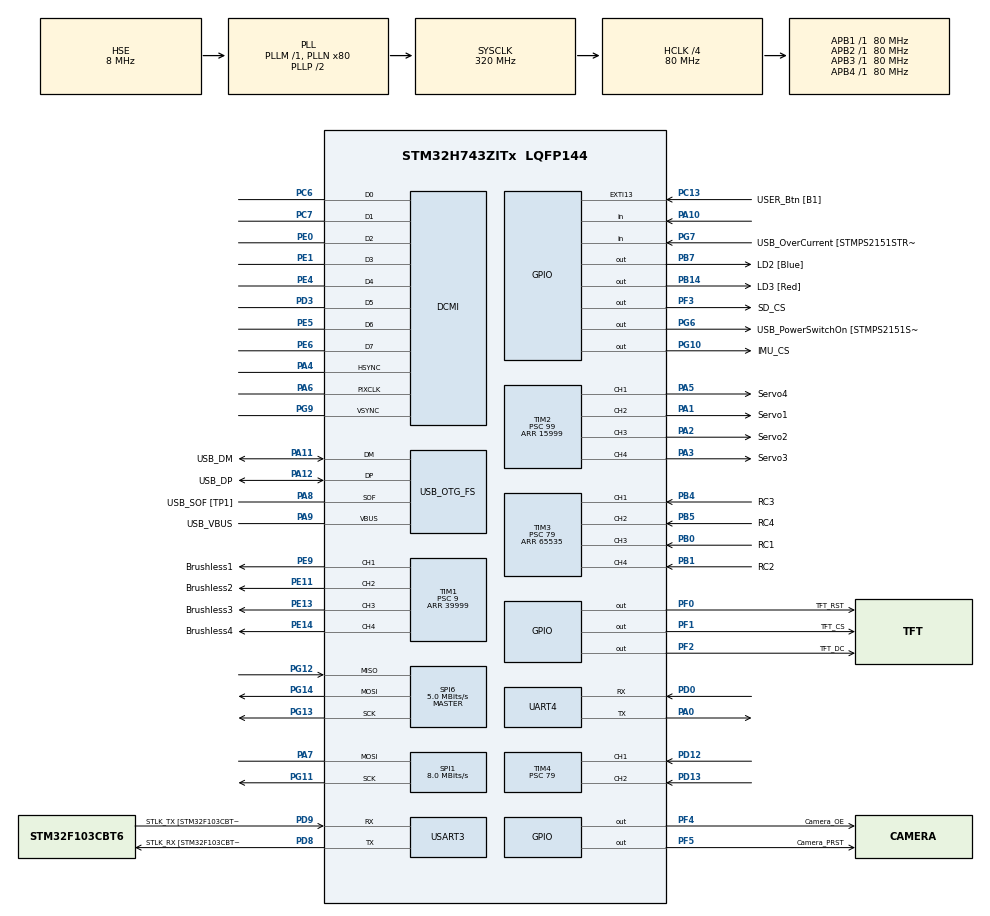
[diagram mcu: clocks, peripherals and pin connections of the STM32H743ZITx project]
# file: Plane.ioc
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FATFS._CODE_PAGE=1
FATFS._MAX_SS=4096
FATFS._MIN_SS=4096
Mcu.Family=STM32H7
Mcu.Name=STM32H743ZITx
Mcu.Package=LQFP144
NVIC.PriorityGroup=NVIC_PRIORITYGROUP_4
NVIC.TIM3_IRQn=true\:1\:0\:true\:false\:true\:true
NVIC.TIM4_IRQn=true\:2\:0\:true\:false\:true\:true
NVIC.UART4_IRQn=true\:0\:0\:false\:false\:true\:true
PA0.Mode=Asynchronous
PA0.Signal=UART4_TX
PA1.GPIO_Label=Servo1
PA1.GPIO_Speed=GPIO_SPEED_FREQ_HIGH
PA1.Signal=S_TIM2_CH2
PA10.Signal=GPIO_Input
PA11.GPIO_Label=USB_DM
PA11.Mode=Device_Only
PA11.Signal=USB_OTG_FS_DM
PA12.GPIO_Label=USB_DP
PA12.Mode=Device_Only
PA12.Signal=USB_OTG_FS_DP
PA13\ (JTMS/SWDIO).GPIO_Label=TMS
PA13\ (JTMS/SWDIO).Mode=Serial_Wire
PA13\ (JTMS/SWDIO).Signal=SYS_JTMS-SWDIO
PA14\ (JTCK/SWCLK).GPIO_Label=TCK
PA14\ (JTCK/SWCLK).Mode=Serial_Wire
PA14\ (JTCK/SWCLK).Signal=SYS_JTCK-SWCLK
PA2.GPIO_Label=Servo2
PA2.GPIO_Speed=GPIO_SPEED_FREQ_HIGH
PA2.Signal=S_TIM2_CH3
PA3.GPIO_Label=Servo3
PA3.GPIO_Speed=GPIO_SPEED_FREQ_HIGH
PA3.Signal=S_TIM2_CH4
PA4.Mode=Slave_8_bits_External_Synchro
PA4.Signal=DCMI_HSYNC
PA5.GPIO_Label=Servo4
PA5.GPIO_Speed=GPIO_SPEED_FREQ_HIGH
PA5.Signal=S_TIM2_CH1
PA6.Mode=Slave_8_bits_External_Synchro
PA6.Signal=DCMI_PIXCLK
PA7.Mode=Simplex_Bidirectional_Master
PA7.Signal=SPI1_MOSI
PA8.GPIO_Label=USB_SOF [TP1]
PA8.Mode=Activate_SOF_FS
PA8.Signal=USB_OTG_FS_SOF
PA9.GPIO_Label=USB_VBUS
PA9.Mode=Activate_VBUS
PA9.Signal=USB_OTG_FS_VBUS
PB0.GPIO_Label=RC1
PB0.Signal=S_TIM3_CH3
PB1.GPIO_Label=RC2
PB1.Signal=S_TIM3_CH4
PB14.GPIO_Label=LD3 [Red]
PB14.Signal=GPIO_Output
PB4\ (NJTRST).GPIO_Label=RC3
PB4\ (NJTRST).GPIO_Speed=GPIO_SPEED_FREQ_LOW
PB4\ (NJTRST).Signal=S_TIM3_CH1
PB5.GPIO_Label=RC4
PB5.GPIO_Speed=GPIO_SPEED_FREQ_LOW
PB5.Signal=S_TIM3_CH2
PB7.GPIO_Label=LD2 [Blue]
PB7.Signal=GPIO_Output
PC13.GPIO_Label=USER_Btn [B1]
PC13.Signal=GPXTI13
PC14-OSC32_IN\ (OSC32_IN).Mode=LSE-External-Oscillator
PC14-OSC32_IN\ (OSC32_IN).Signal=RCC_OSC32_IN
PC15-OSC32_OUT\ (OSC32_OUT).Mode=LSE-External-Oscillator
PC15-OSC32_OUT\ (OSC32_OUT).Signal=RCC_OSC32_OUT
PC6.Mode=Slave_8_bits_External_Synchro
PC6.Signal=DCMI_D0
PC7.Mode=Slave_8_bits_External_Synchro
PC7.Signal=DCMI_D1
PD0.Mode=Asynchronous
PD0.Signal=UART4_RX
PD12.GPIO_Speed=GPIO_SPEED_FREQ_HIGH
PD12.Signal=S_TIM4_CH1
PD13.GPIO_Speed=GPIO_SPEED_FREQ_HIGH
PD13.Signal=S_TIM4_CH2
PD3.Mode=Slave_8_bits_External_Synchro
PD3.Signal=DCMI_D5
PD8.GPIO_Label=STLK_RX [STM32F103CBT6_PA3]
PD8.Mode=Asynchronous
PD8.Signal=USART3_TX
PD9.GPIO_Label=STLK_TX [STM32F103CBT6_PA2]
PD9.Mode=Asynchronous
PD9.Signal=USART3_RX
PE0.Mode=Slave_8_bits_External_Synchro
PE0.Signal=DCMI_D2
PE1.Mode=Slave_8_bits_External_Synchro
PE1.Signal=DCMI_D3
PE11.GPIO_Label=Brushless2
PE11.GPIO_Speed=GPIO_SPEED_FREQ_HIGH
PE11.Signal=S_TIM1_CH2
PE13.GPIO_Label=Brushless3
PE13.GPIO_Speed=GPIO_SPEED_FREQ_HIGH
PE13.Signal=S_TIM1_CH3
PE14.GPIO_Label=Brushless4
PE14.GPIO_Speed=GPIO_SPEED_FREQ_HIGH
PE14.Signal=S_TIM1_CH4
PE4.Mode=Slave_8_bits_External_Synchro
PE4.Signal=DCMI_D4
PE5.Mode=Slave_8_bits_External_Synchro
PE5.Signal=DCMI_D6
PE6.Mode=Slave_8_bits_External_Synchro
PE6.Signal=DCMI_D7
PE9.GPIO_Label=Brushless1
PE9.GPIO_Speed=GPIO_SPEED_FREQ_HIGH
PE9.Signal=S_TIM1_CH1
PF0.GPIO_Label=TFT_RST
PF0.GPIO_PuPd=GPIO_NOPULL
PF0.GPIO_Speed=GPIO_SPEED_FREQ_HIGH
PF0.PinState=GPIO_PIN_RESET
PF0.Signal=GPIO_Output
PF1.GPIO_Label=TFT_CS
PF1.GPIO_PuPd=GPIO_NOPULL
PF1.GPIO_Speed=GPIO_SPEED_FREQ_HIGH
PF1.PinState=GPIO_PIN_RESET
PF1.Signal=GPIO_Output
PF2.GPIO_Label=TFT_DC
PF2.GPIO_ModeDefaultOutputPP=GPIO_MODE_OUTPUT_PP
PF2.GPIO_PuPd=GPIO_NOPULL
PF2.GPIO_Speed=GPIO_SPEED_FREQ_HIGH
PF2.PinState=GPIO_PIN_RESET
PF2.Signal=GPIO_Output
PF3.GPIO_Label=SD_CS
PF3.Signal=GPIO_Output
PF4.GPIO_Label=Camera_OE
PF4.Signal=GPIO_Output
PF5.GPIO_Label=Camera_PRST
PF5.Signal=GPIO_Output
PG10.GPIO_Label=IMU_CS
PG10.GPIO_PuPd=GPIO_PULLUP
PG10.GPIO_Speed=GPIO_SPEED_FREQ_HIGH
PG10.PinState=GPIO_PIN_RESET
PG10.Signal=GPIO_Output
PG11.Mode=Simplex_Bidirectional_Master
PG11.Signal=SPI1_SCK
PG12.GPIO_Speed=GPIO_SPEED_FREQ_HIGH
PG12.Mode=Full_Duplex_Master
PG12.Signal=SPI6_MISO
PG13.GPIO_Speed=GPIO_SPEED_FREQ_HIGH
PG13.Mode=Full_Duplex_Master
PG13.Signal=SPI6_SCK
PG14.GPIO_Speed=GPIO_SPEED_FREQ_HIGH
PG14.Mode=Full_Duplex_Master
PG14.Signal=SPI6_MOSI
PG6.GPIO_Label=USB_PowerSwitchOn [STMPS2151STR_EN]
PG6.Signal=GPIO_Output
PG7.GPIO_Label=USB_OverCurrent [STMPS2151STR_FAULT]
PG7.Signal=GPIO_Input
PG9.Mode=Slave_8_bits_External_Synchro
PG9.Signal=DCMI_VSYNC
PH0-OSC_IN\ (PH0).GPIO_Label=MCO
PH0-OSC_IN\ (PH0).Mode=HSE-External-Clock-Source
PH0-OSC_IN\ (PH0).Signal=RCC_OSC_IN
PH1-OSC_OUT\ (PH1).Mode=HSE-External-Clock-Source
PH1-OSC_OUT\ (PH1).Signal=RCC_OSC_OUT
ProjectManager.HeapSize=0x200
ProjectManager.StackSize=0x400
ProjectManager.TargetToolchain=SW4STM32
RCC.48MHZClocksFreq_Value=24000000
RCC.ADCFreq_Value=16125000
RCC.AHBFreq_Value=216000000
RCC.APB1CLKDivider=RCC_HCLK_DIV4
RCC.APB1Freq_Value=80000000
RCC.APB1TimFreq_Value=108000000
RCC.APB2CLKDivider=RCC_HCLK_DIV2
RCC.APB2Freq_Value=80000000
RCC.APB2TimFreq_Value=216000000
RCC.APB3Freq_Value=80000000
RCC.APB4Freq_Value=80000000
RCC.CortexFreq_Value=320000000
RCC.DIVM1=1
RCC.DIVN1=80
RCC.DIVQ1=10
RCC.HCLKFreq_Value=80000000
RCC.HPRE=RCC_HCLK_DIV4
RCC.HSE_VALUE=8000000
RCC.HSI_VALUE=64000000
RCC.PLL1_VCO_SEL-AdvancedSettings=RCC_PLL1VCOMEDIUM
RCC.PLL2_VCI_Range-AdvancedSettings=RCC_PLL2VCIRANGE_0
RCC.PLLM=25
RCC.PLLMUL=RCC_PLL_MUL9
RCC.PLLN=432
RCC.PLLQ=9
RCC.PLLSourceVirtual=RCC_PLLSOURCE_HSE
RCC.PRESCALERUSB=RCC_USBCLKSOURCE_PLL_DIV1_5
RCC.SYSCLKFreq_VALUE=320000000
RCC.SYSCLKSource=RCC_SYSCLKSOURCE_PLLCLK
RCC.SYSCLKSourceVirtual=RCC_SYSCLKSOURCE_PLLCLK
RCC.USBCLockSelection=RCC_USBCLKSOURCE_HSI48
RCC.USBFreq_Value=48000000
RCC.VCOOutputFreq_Value=432000000
SH.S_TIM1_CH1.0=TIM1_CH1,PWM Generation1 CH1
SH.S_TIM1_CH2.0=TIM1_CH2,PWM Generation2 CH2
SH.S_TIM1_CH3.0=TIM1_CH3,PWM Generation3 CH3
SH.S_TIM1_CH4.0=TIM1_CH4,PWM Generation4 CH4
SH.S_TIM2_CH1.0=TIM2_CH1,PWM Generation1 CH1
SH.S_TIM2_CH2.0=TIM2_CH2,PWM Generation2 CH2
SH.S_TIM2_CH3.0=TIM2_CH3,PWM Generation3 CH3
SH.S_TIM2_CH4.0=TIM2_CH4,PWM Generation4 CH4
SH.S_TIM3_CH1.0=TIM3_CH1,Input_Capture1_from_TI1
SH.S_TIM3_CH2.0=TIM3_CH2,Input_Capture2_from_TI2
SH.S_TIM3_CH3.0=TIM3_CH3,Input_Capture3_from_TI3
SH.S_TIM3_CH4.0=TIM3_CH4,Input_Capture4_from_TI4
SH.S_TIM4_CH1.0=TIM4_CH1,Input_Capture1_from_TI1
SH.S_TIM4_CH2.0=TIM4_CH2,Input_Capture2_from_TI2
SPI1.BaudRatePrescaler=SPI_BAUDRATEPRESCALER_8
SPI1.CalculateBaudRate=8.0 MBits/s
SPI1.DataSize=SPI_DATASIZE_8BIT
SPI1.Direction=SPI_DIRECTION_1LINE
SPI1.Mode=SPI_MODE_MASTER
SPI1.VirtualType=VM_MASTER
SPI6.BaudRatePrescaler=SPI_BAUDRATEPRESCALER_16
SPI6.CalculateBaudRate=5.0 MBits/s
SPI6.DataSize=SPI_DATASIZE_8BIT
SPI6.Direction=SPI_DIRECTION_2LINES
SPI6.Mode=SPI_MODE_MASTER
SPI6.VirtualType=VM_MASTER
TIM1.Channel-PWM\ Generation1\ CH1=TIM_CHANNEL_1
TIM1.Channel-PWM\ Generation2\ CH2=TIM_CHANNEL_2
TIM1.Channel-PWM\ Generation3\ CH3=TIM_CHANNEL_3
TIM1.Channel-PWM\ Generation4\ CH4=TIM_CHANNEL_4
TIM1.Period=39999
TIM1.Prescaler=9
TIM2.Channel-PWM\ Generation1\ CH1=TIM_CHANNEL_1
TIM2.Channel-PWM\ Generation2\ CH2=TIM_CHANNEL_2
TIM2.Channel-PWM\ Generation3\ CH3=TIM_CHANNEL_3
TIM2.Channel-PWM\ Generation4\ CH4=TIM_CHANNEL_4
TIM2.Period=15999
TIM2.Prescaler=99
TIM2.Pulse-PWM\ Generation1\ CH1=1200
TIM2.Pulse-PWM\ Generation2\ CH2=1200
TIM2.Pulse-PWM\ Generation3\ CH3=1200
TIM2.Pulse-PWM\ Generation4\ CH4=1200
TIM3.Channel-Input_Capture1_from_TI1=TIM_CHANNEL_1
TIM3.Channel-Input_Capture2_from_TI2=TIM_CHANNEL_2
TIM3.Channel-Input_Capture3_from_TI3=TIM_CHANNEL_3
TIM3.Channel-Input_Capture4_from_TI4=TIM_CHANNEL_4
TIM3.ICFilter_CH1=0
TIM3.ICFilter_CH2=0
TIM3.ICFilter_CH3=0
TIM3.ICFilter_CH4=0
TIM3.ICPolarity_CH1=TIM_INPUTCHANNELPOLARITY_BOTHEDGE
TIM3.ICPolarity_CH2=TIM_INPUTCHANNELPOLARITY_BOTHEDGE
TIM3.ICPolarity_CH3=TIM_INPUTCHANNELPOLARITY_BOTHEDGE
TIM3.ICPolarity_CH4=TIM_INPUTCHANNELPOLARITY_BOTHEDGE
TIM3.Period=65535
TIM3.Prescaler=79
TIM4.Channel-Input_Capture1_from_TI1=TIM_CHANNEL_1
TIM4.Channel-Input_Capture2_from_TI2=TIM_CHANNEL_2
TIM4.ICPolarity_CH1=TIM_INPUTCHANNELPOLARITY_BOTHEDGE
TIM4.Period=65535
TIM4.Prescaler=79
USART3.VirtualMode-Asynchronous=VM_ASYNC
USB_OTG_FS.VirtualMode=Device_Only
VP_FATFS_VS_Generic.Mode=User_defined
VP_JPEG_VS_JPEG.Mode=JPEG_Activate
VP_TIM1_VS_ClockSourceINT.Mode=Internal
VP_TIM2_VS_ClockSourceINT.Mode=Internal
VP_TIM3_VS_ClockSourceINT.Mode=Internal
VP_TIM4_VS_ClockSourceINT.Mode=Internal
board=NUCLEO-H743ZI

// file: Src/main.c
/* USER CODE BEGIN Header */
/**
  ******************************************************************************
  * @file           : main.c
  * @brief          : Main program body
  ******************************************************************************
  ** This notice applies to any and all portions of this file
  * that are not between comment pairs USER CODE BEGIN and
  * USER CODE END. Other portions of this file, whether
  * inserted by the user or by software development tools
  * are owned by their respective copyright owners.
  *
  * COPYRIGHT(c) 2019 STMicroelectronics
  *
  * Redistribution and use in source and binary forms, with or without modification,
  * are permitted provided that the following conditions are met:
  *   1. Redistributions of source code must retain the above copyright notice,
  *      this list of conditions and the following disclaimer.
  *   2. Redistributions in binary form must reproduce the above copyright notice,
  *      this list of conditions and the following disclaimer in the documentation
  *      and/or other materials provided with the distribution.
  *   3. Neither the name of STMicroelectronics nor the names of its contributors
  *      may be used to endorse or promote products derived from this software
  *      without specific prior written permission.
  *
  * THIS SOFTWARE IS PROVIDED BY THE COPYRIGHT HOLDERS AND CONTRIBUTORS "AS IS"
  * AND ANY EXPRESS OR IMPLIED WARRANTIES, INCLUDING, BUT NOT LIMITED TO, THE
  * IMPLIED WARRANTIES OF MERCHANTABILITY AND FITNESS FOR A PARTICULAR PURPOSE ARE
  * DISCLAIMED. IN NO EVENT SHALL THE COPYRIGHT HOLDER OR CONTRIBUTORS BE LIABLE
  * FOR ANY DIRECT, INDIRECT, INCIDENTAL, SPECIAL, EXEMPLARY, OR CONSEQUENTIAL
  * DAMAGES (INCLUDING, BUT NOT LIMITED TO, PROCUREMENT OF SUBSTITUTE GOODS OR
  * SERVICES; LOSS OF USE, DATA, OR PROFITS; OR BUSINESS INTERRUPTION) HOWEVER
  * CAUSED AND ON ANY THEORY OF LIABILITY, WHETHER IN CONTRACT, STRICT LIABILITY,
  * OR TORT (INCLUDING NEGLIGENCE OR OTHERWISE) ARISING IN ANY WAY OUT OF THE USE
  * OF THIS SOFTWARE, EVEN IF ADVISED OF THE POSSIBILITY OF SUCH DAMAGE.
  *
  ******************************************************************************
  */
/* USER CODE END Header */

#include "main.h"
#include "fatfs.h"

/* USER CODE BEGIN PTD */
UL_TFT_typedef Tft;
UL_IMU_typedef IMU;
UL_PWM_typedef brushless[4];
UL_PWM_typedef servo[4];
UL_RC_typedef RC;
UL_flight_control_typedef FC = {0};

/* USER CODE END PTD */

DCMI_HandleTypeDef hdcmi;

JPEG_HandleTypeDef hjpeg;

SPI_HandleTypeDef hspi1;
SPI_HandleTypeDef hspi6;

TIM_HandleTypeDef htim1;
TIM_HandleTypeDef htim2;
TIM_HandleTypeDef htim3;
TIM_HandleTypeDef htim4;

UART_HandleTypeDef huart4;
UART_HandleTypeDef huart3;

PCD_HandleTypeDef hpcd_USB_OTG_FS;

/* USER CODE BEGIN PV */
/* Private variables ---------------------------------------------------------*/

/* USER CODE END PV */

void SystemClock_Config(void);
static void MX_GPIO_Init(void);
static void MX_USART3_UART_Init(void);
static void MX_USB_OTG_FS_PCD_Init(void);
static void MX_TIM3_Init(void);
static void MX_TIM2_Init(void);
static void MX_TIM1_Init(void);
static void MX_TIM4_Init(void);
static void MX_SPI1_Init(void);
static void MX_JPEG_Init(void);
static void MX_SPI6_Init(void);
static void MX_UART4_Init(void);
static void MX_DCMI_Init(void);
/* USER CODE BEGIN PFP */
/* Private function prototypes -----------------------------------------------*/

/* USER CODE END PFP */

/* USER CODE BEGIN 0 */
void HAL_UART_RxCpltCallback(UART_HandleTypeDef *huart){
    UNUSED(huart);
    if (huart->Instance == IMU.huart->Instance) {
        UL_IMU_Read(&IMU);
        //! Flight Control Init
        if (FC.ready == 1)
            UL_flight_control(&FC);
    }
    HAL_UART_Receive_IT(huart, (uint8_t *) IMU.rxbuff, sizeof(IMU.rxbuff));
    HAL_GPIO_WritePin(LD3_GPIO_Port, LD3_Pin, GPIO_PIN_RESET);
}

void HAL_TIM_IC_CaptureCallback(TIM_HandleTypeDef *htim)
{
    uint8_t index;
    uint32_t Channel;
    uint16_t capture;

    switch (htim->Channel) {
        case HAL_TIM_ACTIVE_CHANNEL_1:
            Channel = TIM_CHANNEL_1;
            if (htim->Instance == RC.htim1->Instance)
                index = 0;
            if (htim->Instance == RC.htim2->Instance)
                index = 4;
            break;
        case HAL_TIM_ACTIVE_CHANNEL_2:
            Channel = TIM_CHANNEL_2;
            if (htim->Instance == RC.htim1->Instance)
                index = 1;
            if (htim->Instance == RC.htim2->Instance)
                index = 5;
            break;
        case HAL_TIM_ACTIVE_CHANNEL_3:
            Channel = TIM_CHANNEL_3;
            index = 2;
            break;
        case HAL_TIM_ACTIVE_CHANNEL_4:
            Channel = TIM_CHANNEL_4;
            index = 3;
            break;
        default:
            return;
        }

    capture = __HAL_TIM_GET_COMPARE(htim, Channel);
    if (RC.CaptureIndex[index] == 0 || capture - RC.Capture1[index] > 2050) {
        /* Get the 1st Input Capture value */
        RC.Capture1[index] = capture;
        RC.CaptureIndex[index] = 1;
    } else if (RC.CaptureIndex[index] == 1) {
        /* Get the 2nd Input Capture value */
        RC.diffCapture[index] = capture - RC.Capture1[index];
        RC.CaptureIndex[index] = 0;
    }
}

void UL_brushless_setup(){
    //HAL_Delay(5000);

    UL_PWM_SetUs(&brushless[0], 1000);
    UL_PWM_SetUs(&brushless[1], 1000);
    UL_PWM_SetUs(&brushless[2], 1000);
    UL_PWM_SetUs(&brushless[3], 1000);

    HAL_Delay(500);

    HAL_GPIO_WritePin(LD2_GPIO_Port, LD2_Pin, GPIO_PIN_SET);

    UL_PWM_SetUs(&brushless[0], 2000);
    UL_PWM_SetUs(&brushless[1], 2000);
    UL_PWM_SetUs(&brushless[2], 2000);
    UL_PWM_SetUs(&brushless[3], 2000);

    HAL_Delay(5500);

    UL_PWM_SetUs(&brushless[0], 1000);
    UL_PWM_SetUs(&brushless[1], 1000);
    UL_PWM_SetUs(&brushless[2], 1000);
    UL_PWM_SetUs(&brushless[3], 1000);

    HAL_Delay(5500);

    HAL_GPIO_WritePin(LD2_GPIO_Port, LD2_Pin, GPIO_PIN_RESET);
}

/* USER CODE END 0 */

int main(void)
{

  /* MCU Configuration--------------------------------------------------------*/

  /* Reset of all peripherals, Initializes the Flash interface and the Systick. */
  HAL_Init();

  /* Configure the system clock */
  SystemClock_Config();

  /* Initialize all configured peripherals */
  MX_GPIO_Init();
  MX_USART3_UART_Init();
  MX_USB_OTG_FS_PCD_Init();
  MX_TIM3_Init();
  MX_TIM2_Init();
  MX_TIM1_Init();
  MX_TIM4_Init();
  MX_SPI1_Init();
  MX_JPEG_Init();
  MX_SPI6_Init();
  MX_UART4_Init();
  MX_DCMI_Init();
  MX_FATFS_Init();
  /* USER CODE BEGIN 2 */

  //! IMU init
  UL_IMU_Init(&IMU, &huart4);
  //UL_IMU_SetUp(&IMU);

    //! TFT init
  UL_TFT_ST7735_Init(&Tft, TFT_RST_GPIO_Port, TFT_RST_Pin, TFT_DC_GPIO_Port, TFT_DC_Pin, TFT_CS_GPIO_Port, TFT_CS_Pin, &hspi1);
  UL_TFT_ST7735_FillScreen(&Tft, ST7735_BLACK);

  //! Servo Timer init
  HAL_TIM_Base_Start(&htim2);
  UL_PWM_Init(&servo[0], &htim2, TIM_CHANNEL_2, 20000);
  UL_PWM_Init(&servo[1], &htim2, TIM_CHANNEL_3, 20000);
  UL_PWM_Init(&servo[2], &htim2, TIM_CHANNEL_4, 20000);
  UL_PWM_Init(&servo[3], &htim2, TIM_CHANNEL_1, 20000);
    //UL_PWM_SetUs()
  UL_PWM_SetUs(&servo[0], 1300);
    HAL_Delay(500);
  UL_PWM_SetUs(&servo[1], 1300);
    HAL_Delay(500);
  UL_PWM_SetUs(&servo[2], 1300);
    HAL_Delay(500);
  UL_PWM_SetUs(&servo[3], 1300);

  HAL_Delay(500);
  UL_PWM_SetUs(&servo[0], 1550);
  UL_PWM_SetUs(&servo[1], 1500);
  UL_PWM_SetUs(&servo[2], 1550);
  UL_PWM_SetUs(&servo[3], 1500);

  //! Brushless Timer Init
  HAL_TIM_Base_Start(&htim1);
  UL_PWM_Init(&brushless[0], &htim1, TIM_CHANNEL_1, 5000);
  UL_PWM_Init(&brushless[1], &htim1, TIM_CHANNEL_2, 5000);
  UL_PWM_Init(&brushless[2], &htim1, TIM_CHANNEL_3, 5000);
  UL_PWM_Init(&brushless[3], &htim1, TIM_CHANNEL_4, 5000);

  //UL_brushless_setup();

  UL_PWM_SetUs(&brushless[0], 1000);
  UL_PWM_SetUs(&brushless[1], 1000);
  UL_PWM_SetUs(&brushless[2], 1000);
  UL_PWM_SetUs(&brushless[3], 1000);
  HAL_Delay(3000);

  //! enable IMU
  __HAL_UART_ENABLE(IMU.huart);

  //! RC Init
  UL_RC_Init(&RC, &htim3, &htim4);

  HAL_Delay(1000);
  UL_flight_control_init(&FC);
  /* USER CODE END 2 */

  /* Infinite loop */
  /* USER CODE BEGIN WHILE */
#pragma clang diagnostic push
#pragma clang diagnostic ignored "-Wmissing-noreturn"
  while (1)
  {
    /* USER CODE END WHILE */

    /* USER CODE BEGIN 3 */

    UL_flight_control_print(&FC);
  }
#pragma clang diagnostic ignored "-Wmissing-noreturn"
  /* USER CODE END 3 */
}

void SystemClock_Config(void)
{
  RCC_OscInitTypeDef RCC_OscInitStruct = {0};
  RCC_ClkInitTypeDef RCC_ClkInitStruct = {0};
  RCC_PeriphCLKInitTypeDef PeriphClkInitStruct = {0};

  /**Supply configuration update enable
  */
  MODIFY_REG(PWR->CR3, PWR_CR3_SCUEN, 0);
  /**Configure the main internal regulator output voltage
  */
  __HAL_PWR_VOLTAGESCALING_CONFIG(PWR_REGULATOR_VOLTAGE_SCALE1);

  while ((PWR->D3CR & (PWR_D3CR_VOSRDY)) != PWR_D3CR_VOSRDY)
  {

  }
  /**Initializes the CPU, AHB and APB busses clocks
  */
  RCC_OscInitStruct.OscillatorType = RCC_OSCILLATORTYPE_HSI48|RCC_OSCILLATORTYPE_HSE;
  RCC_OscInitStruct.HSEState = RCC_HSE_BYPASS;
  RCC_OscInitStruct.HSI48State = RCC_HSI48_ON;
  RCC_OscInitStruct.PLL.PLLState = RCC_PLL_ON;
  RCC_OscInitStruct.PLL.PLLSource = RCC_PLLSOURCE_HSE;
  RCC_OscInitStruct.PLL.PLLM = 1;
  RCC_OscInitStruct.PLL.PLLN = 80;
  RCC_OscInitStruct.PLL.PLLP = 2;
  RCC_OscInitStruct.PLL.PLLQ = 10;
  RCC_OscInitStruct.PLL.PLLR = 2;
  RCC_OscInitStruct.PLL.PLLRGE = RCC_PLL1VCIRANGE_3;
  RCC_OscInitStruct.PLL.PLLVCOSEL = RCC_PLL1VCOWIDE;
  RCC_OscInitStruct.PLL.PLLFRACN = 0;
  if (HAL_RCC_OscConfig(&RCC_OscInitStruct) != HAL_OK)
  {
    Error_Handler();
  }
  /**Initializes the CPU, AHB and APB busses clocks
  */
  RCC_ClkInitStruct.ClockType = RCC_CLOCKTYPE_HCLK|RCC_CLOCKTYPE_SYSCLK
                              |RCC_CLOCKTYPE_PCLK1|RCC_CLOCKTYPE_PCLK2
                              |RCC_CLOCKTYPE_D3PCLK1|RCC_CLOCKTYPE_D1PCLK1;
  RCC_ClkInitStruct.SYSCLKSource = RCC_SYSCLKSOURCE_PLLCLK;
  RCC_ClkInitStruct.SYSCLKDivider = RCC_SYSCLK_DIV1;
  RCC_ClkInitStruct.AHBCLKDivider = RCC_HCLK_DIV4;
  RCC_ClkInitStruct.APB3CLKDivider = RCC_APB3_DIV1;
  RCC_ClkInitStruct.APB1CLKDivider = RCC_APB1_DIV1;
  RCC_ClkInitStruct.APB2CLKDivider = RCC_APB2_DIV1;
  RCC_ClkInitStruct.APB4CLKDivider = RCC_APB4_DIV1;

  if (HAL_RCC_ClockConfig(&RCC_ClkInitStruct, FLASH_LATENCY_1) != HAL_OK)
  {
    Error_Handler();
  }
  PeriphClkInitStruct.PeriphClockSelection = RCC_PERIPHCLK_USART3|RCC_PERIPHCLK_UART4
                              |RCC_PERIPHCLK_SPI1|RCC_PERIPHCLK_SPI6
                              |RCC_PERIPHCLK_USB;
  PeriphClkInitStruct.Spi123ClockSelection = RCC_SPI123CLKSOURCE_PLL;
  PeriphClkInitStruct.Usart234578ClockSelection = RCC_USART234578CLKSOURCE_D2PCLK1;
  PeriphClkInitStruct.UsbClockSelection = RCC_USBCLKSOURCE_HSI48;
  PeriphClkInitStruct.Spi6ClockSelection = RCC_SPI6CLKSOURCE_D3PCLK1;
  if (HAL_RCCEx_PeriphCLKConfig(&PeriphClkInitStruct) != HAL_OK)
  {
    Error_Handler();
  }
}

static void MX_DCMI_Init(void)
{

  hdcmi.Instance = DCMI;
  hdcmi.Init.SynchroMode = DCMI_SYNCHRO_HARDWARE;
  hdcmi.Init.PCKPolarity = DCMI_PCKPOLARITY_FALLING;
  hdcmi.Init.VSPolarity = DCMI_VSPOLARITY_LOW;
  hdcmi.Init.HSPolarity = DCMI_HSPOLARITY_LOW;
  hdcmi.Init.CaptureRate = DCMI_CR_ALL_FRAME;
  hdcmi.Init.ExtendedDataMode = DCMI_EXTEND_DATA_8B;
  hdcmi.Init.JPEGMode = DCMI_JPEG_DISABLE;
  hdcmi.Init.ByteSelectMode = DCMI_BSM_ALL;
  hdcmi.Init.ByteSelectStart = DCMI_OEBS_ODD;
  hdcmi.Init.LineSelectMode = DCMI_LSM_ALL;
  hdcmi.Init.LineSelectStart = DCMI_OELS_ODD;
  if (HAL_DCMI_Init(&hdcmi) != HAL_OK)
  {
    Error_Handler();
  }

}

static void MX_JPEG_Init(void)
{

  hjpeg.Instance = JPEG;
  if (HAL_JPEG_Init(&hjpeg) != HAL_OK)
  {
    Error_Handler();
  }

}

static void MX_SPI1_Init(void)
{

  /* SPI1 parameter configuration*/
  hspi1.Instance = SPI1;
  hspi1.Init.Mode = SPI_MODE_MASTER;
  hspi1.Init.Direction = SPI_DIRECTION_1LINE;
  hspi1.Init.DataSize = SPI_DATASIZE_8BIT;
  hspi1.Init.CLKPolarity = SPI_POLARITY_LOW;
  hspi1.Init.CLKPhase = SPI_PHASE_1EDGE;
  hspi1.Init.NSS = SPI_NSS_SOFT;
  hspi1.Init.BaudRatePrescaler = SPI_BAUDRATEPRESCALER_8;
  hspi1.Init.FirstBit = SPI_FIRSTBIT_MSB;
  hspi1.Init.TIMode = SPI_TIMODE_DISABLE;
  hspi1.Init.CRCCalculation = SPI_CRCCALCULATION_DISABLE;
  hspi1.Init.CRCPolynomial = 7;
  hspi1.Init.NSSPMode = SPI_NSS_PULSE_ENABLE;
  hspi1.Init.NSSPolarity = SPI_NSS_POLARITY_LOW;
  hspi1.Init.FifoThreshold = SPI_FIFO_THRESHOLD_01DATA;
  hspi1.Init.TxCRCInitializationPattern = SPI_CRC_INITIALIZATION_ALL_ZERO_PATTERN;
  hspi1.Init.RxCRCInitializationPattern = SPI_CRC_INITIALIZATION_ALL_ZERO_PATTERN;
  hspi1.Init.MasterSSIdleness = SPI_MASTER_SS_IDLENESS_00CYCLE;
  hspi1.Init.MasterInterDataIdleness = SPI_MASTER_INTERDATA_IDLENESS_00CYCLE;
  hspi1.Init.MasterReceiverAutoSusp = SPI_MASTER_RX_AUTOSUSP_DISABLE;
  hspi1.Init.MasterKeepIOState = SPI_MASTER_KEEP_IO_STATE_DISABLE;
  hspi1.Init.IOSwap = SPI_IO_SWAP_DISABLE;
  if (HAL_SPI_Init(&hspi1) != HAL_OK)
  {
    Error_Handler();
  }

}

static void MX_SPI6_Init(void)
{

  /* SPI6 parameter configuration*/
  hspi6.Instance = SPI6;
  hspi6.Init.Mode = SPI_MODE_MASTER;
  hspi6.Init.Direction = SPI_DIRECTION_2LINES;
  hspi6.Init.DataSize = SPI_DATASIZE_8BIT;
  hspi6.Init.CLKPolarity = SPI_POLARITY_LOW;
  hspi6.Init.CLKPhase = SPI_PHASE_1EDGE;
  hspi6.Init.NSS = SPI_NSS_SOFT;
  hspi6.Init.BaudRatePrescaler = SPI_BAUDRATEPRESCALER_16;
  hspi6.Init.FirstBit = SPI_FIRSTBIT_MSB;
  hspi6.Init.TIMode = SPI_TIMODE_DISABLE;
  hspi6.Init.CRCCalculation = SPI_CRCCALCULATION_DISABLE;
  hspi6.Init.CRCPolynomial = 7;
  hspi6.Init.NSSPMode = SPI_NSS_PULSE_ENABLE;
  hspi6.Init.NSSPolarity = SPI_NSS_POLARITY_LOW;
  hspi6.Init.FifoThreshold = SPI_FIFO_THRESHOLD_01DATA;
  hspi6.Init.TxCRCInitializationPattern = SPI_CRC_INITIALIZATION_ALL_ZERO_PATTERN;
  hspi6.Init.RxCRCInitializationPattern = SPI_CRC_INITIALIZATION_ALL_ZERO_PATTERN;
  hspi6.Init.MasterSSIdleness = SPI_MASTER_SS_IDLENESS_00CYCLE;
  hspi6.Init.MasterInterDataIdleness = SPI_MASTER_INTERDATA_IDLENESS_00CYCLE;
  hspi6.Init.MasterReceiverAutoSusp = SPI_MASTER_RX_AUTOSUSP_DISABLE;
  hspi6.Init.MasterKeepIOState = SPI_MASTER_KEEP_IO_STATE_DISABLE;
  hspi6.Init.IOSwap = SPI_IO_SWAP_DISABLE;
  if (HAL_SPI_Init(&hspi6) != HAL_OK)
  {
    Error_Handler();
  }

}

static void MX_TIM1_Init(void)
{

  TIM_ClockConfigTypeDef sClockSourceConfig = {0};
  TIM_MasterConfigTypeDef sMasterConfig = {0};
  TIM_OC_InitTypeDef sConfigOC = {0};
  TIM_BreakDeadTimeConfigTypeDef sBreakDeadTimeConfig = {0};

  htim1.Instance = TIM1;
  htim1.Init.Prescaler = 9;
  htim1.Init.CounterMode = TIM_COUNTERMODE_UP;
  htim1.Init.Period = 39999;
  htim1.Init.ClockDivision = TIM_CLOCKDIVISION_DIV1;
  htim1.Init.RepetitionCounter = 0;
  htim1.Init.AutoReloadPreload = TIM_AUTORELOAD_PRELOAD_DISABLE;
  if (HAL_TIM_Base_Init(&htim1) != HAL_OK)
  {
    Error_Handler();
  }
  sClockSourceConfig.ClockSource = TIM_CLOCKSOURCE_INTERNAL;
  if (HAL_TIM_ConfigClockSource(&htim1, &sClockSourceConfig) != HAL_OK)
  {
    Error_Handler();
  }
  if (HAL_TIM_PWM_Init(&htim1) != HAL_OK)
  {
    Error_Handler();
  }
  sMasterConfig.MasterOutputTrigger = TIM_TRGO_RESET;
  sMasterConfig.MasterOutputTrigger2 = TIM_TRGO2_RESET;
  sMasterConfig.MasterSlaveMode = TIM_MASTERSLAVEMODE_DISABLE;
  if (HAL_TIMEx_MasterConfigSynchronization(&htim1, &sMasterConfig) != HAL_OK)
  {
    Error_Handler();
  }
  sConfigOC.OCMode = TIM_OCMODE_PWM1;
  sConfigOC.Pulse = 0;
  sConfigOC.OCPolarity = TIM_OCPOLARITY_HIGH;
  sConfigOC.OCNPolarity = TIM_OCNPOLARITY_HIGH;
  sConfigOC.OCFastMode = TIM_OCFAST_DISABLE;
  sConfigOC.OCIdleState = TIM_OCIDLESTATE_RESET;
  sConfigOC.OCNIdleState = TIM_OCNIDLESTATE_RESET;
  if (HAL_TIM_PWM_ConfigChannel(&htim1, &sConfigOC, TIM_CHANNEL_1) != HAL_OK)
  {
    Error_Handler();
  }
  if (HAL_TIM_PWM_ConfigChannel(&htim1, &sConfigOC, TIM_CHANNEL_2) != HAL_OK)
  {
    Error_Handler();
  }
  if (HAL_TIM_PWM_ConfigChannel(&htim1, &sConfigOC, TIM_CHANNEL_3) != HAL_OK)
  {
    Error_Handler();
  }
  if (HAL_TIM_PWM_ConfigChannel(&htim1, &sConfigOC, TIM_CHANNEL_4) != HAL_OK)
  {
    Error_Handler();
  }
  sBreakDeadTimeConfig.OffStateRunMode = TIM_OSSR_DISABLE;
  sBreakDeadTimeConfig.OffStateIDLEMode = TIM_OSSI_DISABLE;
  sBreakDeadTimeConfig.LockLevel = TIM_LOCKLEVEL_OFF;
  sBreakDeadTimeConfig.DeadTime = 0;
  sBreakDeadTimeConfig.BreakState = TIM_BREAK_DISABLE;
  sBreakDeadTimeConfig.BreakPolarity = TIM_BREAKPOLARITY_HIGH;
  sBreakDeadTimeConfig.BreakFilter = 0;
  sBreakDeadTimeConfig.Break2State = TIM_BREAK2_DISABLE;
  sBreakDeadTimeConfig.Break2Polarity = TIM_BREAK2POLARITY_HIGH;
  sBreakDeadTimeConfig.Break2Filter = 0;
  sBreakDeadTimeConfig.AutomaticOutput = TIM_AUTOMATICOUTPUT_DISABLE;
  if (HAL_TIMEx_ConfigBreakDeadTime(&htim1, &sBreakDeadTimeConfig) != HAL_OK)
  {
    Error_Handler();
  }
  HAL_TIM_MspPostInit(&htim1);

}

static void MX_TIM2_Init(void)
{

  TIM_ClockConfigTypeDef sClockSourceConfig = {0};
  TIM_MasterConfigTypeDef sMasterConfig = {0};
  TIM_OC_InitTypeDef sConfigOC = {0};

  htim2.Instance = TIM2;
  htim2.Init.Prescaler = 99;
  htim2.Init.CounterMode = TIM_COUNTERMODE_UP;
  htim2.Init.Period = 15999;
  htim2.Init.ClockDivision = TIM_CLOCKDIVISION_DIV1;
  htim2.Init.AutoReloadPreload = TIM_AUTORELOAD_PRELOAD_DISABLE;
  if (HAL_TIM_Base_Init(&htim2) != HAL_OK)
  {
    Error_Handler();
  }
  sClockSourceConfig.ClockSource = TIM_CLOCKSOURCE_INTERNAL;
  if (HAL_TIM_ConfigClockSource(&htim2, &sClockSourceConfig) != HAL_OK)
  {
    Error_Handler();
  }
  if (HAL_TIM_PWM_Init(&htim2) != HAL_OK)
  {
    Error_Handler();
  }
  sMasterConfig.MasterOutputTrigger = TIM_TRGO_RESET;
  sMasterConfig.MasterSlaveMode = TIM_MASTERSLAVEMODE_DISABLE;
  if (HAL_TIMEx_MasterConfigSynchronization(&htim2, &sMasterConfig) != HAL_OK)
  {
    Error_Handler();
  }
  sConfigOC.OCMode = TIM_OCMODE_PWM1;
  sConfigOC.Pulse = 1200;
  sConfigOC.OCPolarity = TIM_OCPOLARITY_HIGH;
  sConfigOC.OCFastMode = TIM_OCFAST_DISABLE;
  if (HAL_TIM_PWM_ConfigChannel(&htim2, &sConfigOC, TIM_CHANNEL_1) != HAL_OK)
  {
    Error_Handler();
  }
  if (HAL_TIM_PWM_ConfigChannel(&htim2, &sConfigOC, TIM_CHANNEL_2) != HAL_OK)
  {
    Error_Handler();
  }
  if (HAL_TIM_PWM_ConfigChannel(&htim2, &sConfigOC, TIM_CHANNEL_3) != HAL_OK)
  {
    Error_Handler();
  }
  if (HAL_TIM_PWM_ConfigChannel(&htim2, &sConfigOC, TIM_CHANNEL_4) != HAL_OK)
  {
    Error_Handler();
  }
  HAL_TIM_MspPostInit(&htim2);

}

static void MX_TIM3_Init(void)
{

  TIM_ClockConfigTypeDef sClockSourceConfig = {0};
  TIM_MasterConfigTypeDef sMasterConfig = {0};
  TIM_IC_InitTypeDef sConfigIC = {0};

  htim3.Instance = TIM3;
  htim3.Init.Prescaler = 79;
  htim3.Init.CounterMode = TIM_COUNTERMODE_UP;
  htim3.Init.Period = 65535;
  htim3.Init.ClockDivision = TIM_CLOCKDIVISION_DIV1;
  htim3.Init.AutoReloadPreload = TIM_AUTORELOAD_PRELOAD_DISABLE;
  if (HAL_TIM_Base_Init(&htim3) != HAL_OK)
  {
    Error_Handler();
  }
  sClockSourceConfig.ClockSource = TIM_CLOCKSOURCE_INTERNAL;
  if (HAL_TIM_ConfigClockSource(&htim3, &sClockSourceConfig) != HAL_OK)
  {
    Error_Handler();
  }
  if (HAL_TIM_IC_Init(&htim3) != HAL_OK)
  {
    Error_Handler();
  }
  sMasterConfig.MasterOutputTrigger = TIM_TRGO_RESET;
  sMasterConfig.MasterSlaveMode = TIM_MASTERSLAVEMODE_DISABLE;
  if (HAL_TIMEx_MasterConfigSynchronization(&htim3, &sMasterConfig) != HAL_OK)
  {
    Error_Handler();
  }
  sConfigIC.ICPolarity = TIM_INPUTCHANNELPOLARITY_BOTHEDGE;
  sConfigIC.ICSelection = TIM_ICSELECTION_DIRECTTI;
  sConfigIC.ICPrescaler = TIM_ICPSC_DIV1;
  sConfigIC.ICFilter = 0;
  if (HAL_TIM_IC_ConfigChannel(&htim3, &sConfigIC, TIM_CHANNEL_1) != HAL_OK)
  {
    Error_Handler();
  }
  if (HAL_TIM_IC_ConfigChannel(&htim3, &sConfigIC, TIM_CHANNEL_2) != HAL_OK)
  {
    Error_Handler();
  }
  if (HAL_TIM_IC_ConfigChannel(&htim3, &sConfigIC, TIM_CHANNEL_3) != HAL_OK)
  {
    Error_Handler();
  }
  if (HAL_TIM_IC_ConfigChannel(&htim3, &sConfigIC, TIM_CHANNEL_4) != HAL_OK)
  {
    Error_Handler();
  }

}

static void MX_TIM4_Init(void)
{

  TIM_ClockConfigTypeDef sClockSourceConfig = {0};
  TIM_MasterConfigTypeDef sMasterConfig = {0};
  TIM_IC_InitTypeDef sConfigIC = {0};

  htim4.Instance = TIM4;
  htim4.Init.Prescaler = 79;
  htim4.Init.CounterMode = TIM_COUNTERMODE_UP;
  htim4.Init.Period = 65535;
  htim4.Init.ClockDivision = TIM_CLOCKDIVISION_DIV1;
  htim4.Init.AutoReloadPreload = TIM_AUTORELOAD_PRELOAD_DISABLE;
  if (HAL_TIM_Base_Init(&htim4) != HAL_OK)
  {
    Error_Handler();
  }
  sClockSourceConfig.ClockSource = TIM_CLOCKSOURCE_INTERNAL;
  if (HAL_TIM_ConfigClockSource(&htim4, &sClockSourceConfig) != HAL_OK)
  {
    Error_Handler();
  }
  if (HAL_TIM_IC_Init(&htim4) != HAL_OK)
  {
    Error_Handler();
  }
  sMasterConfig.MasterOutputTrigger = TIM_TRGO_RESET;
  sMasterConfig.MasterSlaveMode = TIM_MASTERSLAVEMODE_DISABLE;
  if (HAL_TIMEx_MasterConfigSynchronization(&htim4, &sMasterConfig) != HAL_OK)
  {
    Error_Handler();
  }
  sConfigIC.ICPolarity = TIM_INPUTCHANNELPOLARITY_BOTHEDGE;
  sConfigIC.ICSelection = TIM_ICSELECTION_DIRECTTI;
  sConfigIC.ICPrescaler = TIM_ICPSC_DIV1;
  sConfigIC.ICFilter = 0;
  if (HAL_TIM_IC_ConfigChannel(&htim4, &sConfigIC, TIM_CHANNEL_1) != HAL_OK)
  {
    Error_Handler();
  }
  sConfigIC.ICPolarity = TIM_INPUTCHANNELPOLARITY_RISING;
  if (HAL_TIM_IC_ConfigChannel(&htim4, &sConfigIC, TIM_CHANNEL_2) != HAL_OK)
  {
    Error_Handler();
  }

}

static void MX_UART4_Init(void)
{

  huart4.Instance = UART4;
  huart4.Init.BaudRate = 115200;
  huart4.Init.WordLength = UART_WORDLENGTH_8B;
  huart4.Init.StopBits = UART_STOPBITS_1;
  huart4.Init.Parity = UART_PARITY_NONE;
  huart4.Init.Mode = UART_MODE_TX_RX;
  huart4.Init.HwFlowCtl = UART_HWCONTROL_NONE;
  huart4.Init.OverSampling = UART_OVERSAMPLING_16;
  huart4.Init.OneBitSampling = UART_ONE_BIT_SAMPLE_DISABLE;
  huart4.Init.Prescaler = UART_PRESCALER_DIV1;
  huart4.Init.FIFOMode = UART_FIFOMODE_DISABLE;
  huart4.Init.TXFIFOThreshold = UART_TXFIFO_THRESHOLD_1_8;
  huart4.Init.RXFIFOThreshold = UART_RXFIFO_THRESHOLD_1_8;
  huart4.AdvancedInit.AdvFeatureInit = UART_ADVFEATURE_NO_INIT;
  if (HAL_UART_Init(&huart4) != HAL_OK)
  {
    Error_Handler();
  }

}

static void MX_USART3_UART_Init(void)
{

  huart3.Instance = USART3;
  huart3.Init.BaudRate = 115200;
  huart3.Init.WordLength = UART_WORDLENGTH_8B;
  huart3.Init.StopBits = UART_STOPBITS_1;
  huart3.Init.Parity = UART_PARITY_NONE;
  huart3.Init.Mode = UART_MODE_TX_RX;
  huart3.Init.HwFlowCtl = UART_HWCONTROL_NONE;
  huart3.Init.OverSampling = UART_OVERSAMPLING_16;
  huart3.Init.OneBitSampling = UART_ONE_BIT_SAMPLE_DISABLE;
  huart3.Init.Prescaler = UART_PRESCALER_DIV1;
  huart3.Init.FIFOMode = UART_FIFOMODE_DISABLE;
  huart3.Init.TXFIFOThreshold = UART_TXFIFO_THRESHOLD_1_8;
  huart3.Init.RXFIFOThreshold = UART_RXFIFO_THRESHOLD_1_8;
  huart3.AdvancedInit.AdvFeatureInit = UART_ADVFEATURE_NO_INIT;
  if (HAL_UART_Init(&huart3) != HAL_OK)
  {
    Error_Handler();
  }

}

static void MX_USB_OTG_FS_PCD_Init(void)
{

  hpcd_USB_OTG_FS.Instance = USB_OTG_FS;
  hpcd_USB_OTG_FS.Init.dev_endpoints = 9;
  hpcd_USB_OTG_FS.Init.speed = PCD_SPEED_FULL;
  hpcd_USB_OTG_FS.Init.dma_enable = DISABLE;
  hpcd_USB_OTG_FS.Init.ep0_mps = DEP0CTL_MPS_64;
  hpcd_USB_OTG_FS.Init.phy_itface = PCD_PHY_EMBEDDED;
  hpcd_USB_OTG_FS.Init.Sof_enable = ENABLE;
  hpcd_USB_OTG_FS.Init.low_power_enable = DISABLE;
  hpcd_USB_OTG_FS.Init.lpm_enable = DISABLE;
  hpcd_USB_OTG_FS.Init.battery_charging_enable = ENABLE;
  hpcd_USB_OTG_FS.Init.vbus_sensing_enable = ENABLE;
  hpcd_USB_OTG_FS.Init.use_dedicated_ep1 = DISABLE;
  if (HAL_PCD_Init(&hpcd_USB_OTG_FS) != HAL_OK)
  {
    Error_Handler();
  }

}

static void MX_GPIO_Init(void)
{
  GPIO_InitTypeDef GPIO_InitStruct = {0};

  /* GPIO Ports Clock Enable */
  __HAL_RCC_GPIOE_CLK_ENABLE();
  __HAL_RCC_GPIOC_CLK_ENABLE();
  __HAL_RCC_GPIOF_CLK_ENABLE();
  __HAL_RCC_GPIOH_CLK_ENABLE();
  __HAL_RCC_GPIOA_CLK_ENABLE();
  __HAL_RCC_GPIOB_CLK_ENABLE();
  __HAL_RCC_GPIOD_CLK_ENABLE();
  __HAL_RCC_GPIOG_CLK_ENABLE();

  /*Configure GPIO pin Output Level */
  HAL_GPIO_WritePin(GPIOF, TFT_RST_Pin|TFT_CS_Pin|TFT_DC_Pin|SD_CS_Pin
                          |Camera_OE_Pin|Camera_PRST_Pin, GPIO_PIN_RESET);

  /*Configure GPIO pin Output Level */
  HAL_GPIO_WritePin(GPIOB, LD3_Pin|LD2_Pin, GPIO_PIN_RESET);

  /*Configure GPIO pin Output Level */
  HAL_GPIO_WritePin(GPIOG, USB_PowerSwitchOn_Pin|IMU_CS_Pin, GPIO_PIN_RESET);

  /*Configure GPIO pin : USER_Btn_Pin */
  GPIO_InitStruct.Pin = USER_Btn_Pin;
  GPIO_InitStruct.Mode = GPIO_MODE_IT_RISING;
  GPIO_InitStruct.Pull = GPIO_NOPULL;
  HAL_GPIO_Init(USER_Btn_GPIO_Port, &GPIO_InitStruct);

  /*Configure GPIO pins : TFT_RST_Pin TFT_CS_Pin TFT_DC_Pin */
  GPIO_InitStruct.Pin = TFT_RST_Pin|TFT_CS_Pin|TFT_DC_Pin;
  GPIO_InitStruct.Mode = GPIO_MODE_OUTPUT_PP;
  GPIO_InitStruct.Pull = GPIO_NOPULL;
  GPIO_InitStruct.Speed = GPIO_SPEED_FREQ_HIGH;
  HAL_GPIO_Init(GPIOF, &GPIO_InitStruct);

  /*Configure GPIO pins : SD_CS_Pin Camera_OE_Pin Camera_PRST_Pin */
  GPIO_InitStruct.Pin = SD_CS_Pin|Camera_OE_Pin|Camera_PRST_Pin;
  GPIO_InitStruct.Mode = GPIO_MODE_OUTPUT_PP;
  GPIO_InitStruct.Pull = GPIO_NOPULL;
  GPIO_InitStruct.Speed = GPIO_SPEED_FREQ_LOW;
  HAL_GPIO_Init(GPIOF, &GPIO_InitStruct);

  /*Configure GPIO pins : LD3_Pin LD2_Pin */
  GPIO_InitStruct.Pin = LD3_Pin|LD2_Pin;
  GPIO_InitStruct.Mode = GPIO_MODE_OUTPUT_PP;
  GPIO_InitStruct.Pull = GPIO_NOPULL;
  GPIO_InitStruct.Speed = GPIO_SPEED_FREQ_LOW;
  HAL_GPIO_Init(GPIOB, &GPIO_InitStruct);

  /*Configure GPIO pin : USB_PowerSwitchOn_Pin */
  GPIO_InitStruct.Pin = USB_PowerSwitchOn_Pin;
  GPIO_InitStruct.Mode = GPIO_MODE_OUTPUT_PP;
  GPIO_InitStruct.Pull = GPIO_NOPULL;
  GPIO_InitStruct.Speed = GPIO_SPEED_FREQ_LOW;
  HAL_GPIO_Init(USB_PowerSwitchOn_GPIO_Port, &GPIO_InitStruct);

  /*Configure GPIO pin : USB_OverCurrent_Pin */
  GPIO_InitStruct.Pin = USB_OverCurrent_Pin;
  GPIO_InitStruct.Mode = GPIO_MODE_INPUT;
  GPIO_InitStruct.Pull = GPIO_NOPULL;
  HAL_GPIO_Init(USB_OverCurrent_GPIO_Port, &GPIO_InitStruct);

  /*Configure GPIO pin : PA10 */
  GPIO_InitStruct.Pin = GPIO_PIN_10;
  GPIO_InitStruct.Mode = GPIO_MODE_INPUT;
  GPIO_InitStruct.Pull = GPIO_NOPULL;
  HAL_GPIO_Init(GPIOA, &GPIO_InitStruct);

  /*Configure GPIO pin : IMU_CS_Pin */
  GPIO_InitStruct.Pin = IMU_CS_Pin;
  GPIO_InitStruct.Mode = GPIO_MODE_OUTPUT_PP;
  GPIO_InitStruct.Pull = GPIO_PULLUP;
  GPIO_InitStruct.Speed = GPIO_SPEED_FREQ_HIGH;
  HAL_GPIO_Init(IMU_CS_GPIO_Port, &GPIO_InitStruct);

}

void Error_Handler(void)
{
  while(1)
  {
  }
}

/************************ (C) COPYRIGHT STMicroelectronics *****END OF FILE****/
